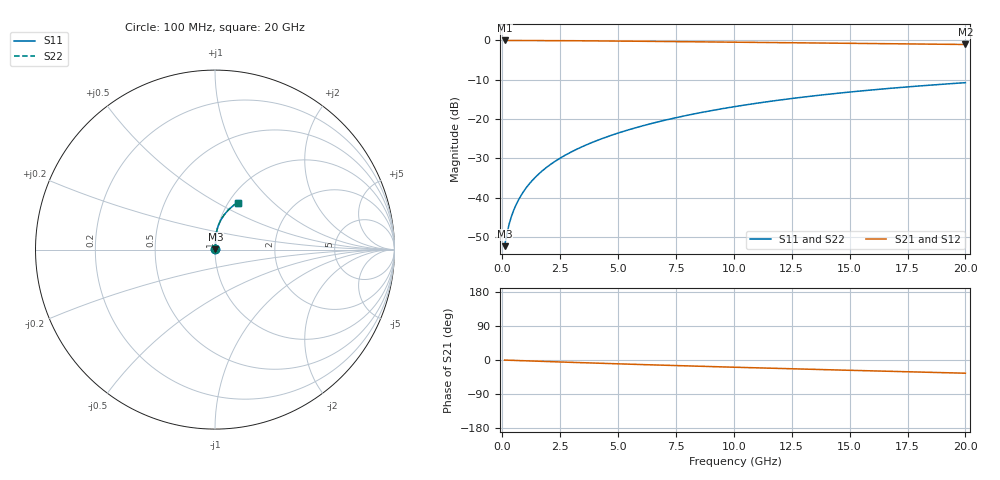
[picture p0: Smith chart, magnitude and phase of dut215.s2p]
! Touchstone file exported from HFSS 2024.1.0
!  File:  C:/UserFiles/LocalFiles/RDL_TSV_Batchsim/temp_RDL_top_215_1778687513.aedt
!  Generated:  11:54:07 PM May 13, 2026
!  Design:  RDL_top
!  Project:  temp_RDL_top_215_1778687513
!  Setup:  Setup1
!  Solution:  Sweep
! Variables:
!  dtsv = 10.80580581um
!  hbump = 3um
!  htsv = 82.56um
!  ldown = 100um
!  lrdl = 518.32um
!  p = 40
!  p1 = 46.83um
!  rhole = 1um
!  t = 450um
!  tdown = 3.915915916um
!  trdl = 4.39um
!  wdown = 15.38538539um
!  wrdl = 23.88um
# GHz S MA R 50.000000
! Terminal data exported
! Port[1] = Box2_T1
! Port[2] = Box2_T2
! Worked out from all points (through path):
!   200 points, 100 MHz to 20 GHz, reference 50 ohm
!   highest |S21| = -0.02 dB at 100 MHz (marker M1); lowest = -1.0 dB at 20 GHz (marker M2)
!   group delay of S21, straight-line fit = 4.79 ps
!   lowest |S11| = -52.3 dB at 100 MHz (marker M3), VSWR 1.00, Z = 50.2 + j0.145 ohm
!   |S11| at or under -10 dB: start of sweep to end of sweep
!   |S22| runs from -52.3 to -10.7 dB; largest |S21 - S12| = 3.1e-15
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0.1  0.002421 36.5  0.998 -0.2  0.998 -0.2  0.002421 36.5
! Gamma 0 0 0 0
! Port Impedance 50 0 50 0
0.2  0.003492 53.7  0.9979 -0.4  0.9979 -0.4  0.003492 53.7
0.3  0.004666 61.9  0.9977 -0.7  0.9977 -0.7  0.004665 61.9
0.4  0.005843 66.7  0.9976 -0.9  0.9976 -0.9  0.005842 66.7
0.5  0.007017 70.1  0.9974 -1.1  0.9974 -1.1  0.007015 70.1
0.6  0.008192 72.6  0.9973 -1.3  0.9973 -1.3  0.00819 72.6
0.8  0.01056 76.2  0.997 -1.7  0.997 -1.7  0.01056 76.3
1.1  0.01419 79.7  0.9965 -2.3  0.9965 -2.3  0.01419 79.7
1.3  0.01664 81.2  0.9961 -2.7  0.9961 -2.7  0.01664 81.2
1.6  0.02037 82.9  0.9954 -3.4  0.9954 -3.4  0.02037 82.9
2.1  0.0267 84.6  0.9939 -4.4  0.9939 -4.4  0.0267 84.7
2.7  0.03449 85.9  0.9918 -5.6  0.9918 -5.6  0.03449 85.9
3.5  0.04521 86.7  0.9883 -7.2  0.9883 -7.2  0.04522 86.8
4.2  0.0549 87.0  0.9848 -8.6  0.9848 -8.6  0.05492 87.0
5  0.06634 86.9  0.9803 -10.1  0.9803 -10.1  0.06637 86.9
6.8  0.09325 85.6  0.9695 -13.5  0.9695 -13.5  0.0933 85.7
8.4  0.1181 83.7  0.9594 -16.3  0.9594 -16.3  0.1182 83.7
10.1  0.1449 81.1  0.9486 -19.2  0.9486 -19.2  0.145 81.2
11.7  0.1701 78.5  0.9385 -21.9  0.9385 -21.9  0.1702 78.6
13.4  0.1963 75.6  0.9279 -24.6  0.9279 -24.6  0.1965 75.7
16.7  0.2451 69.9  0.9074 -29.8  0.9074 -29.8  0.2454 70.0
20  0.29 64.3  0.887 -34.9  0.887 -34.9  0.2904 64.4
